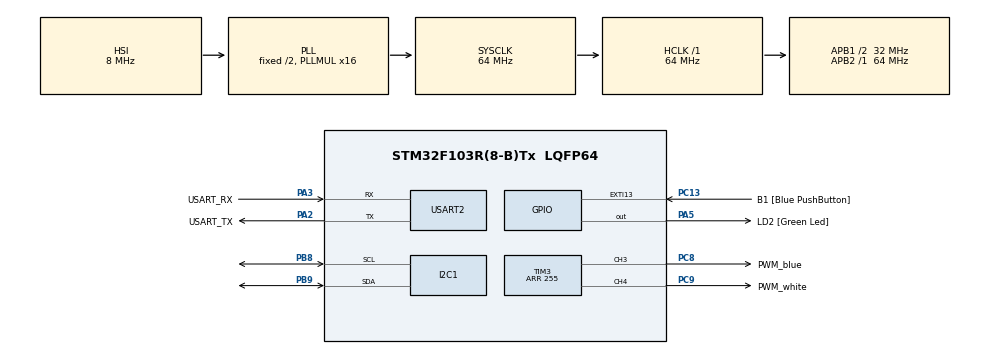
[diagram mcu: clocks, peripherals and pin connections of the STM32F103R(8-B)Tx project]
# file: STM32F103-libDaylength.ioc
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Mcu.Family=STM32F1
Mcu.Name=STM32F103R(8-B)Tx
Mcu.Package=LQFP64
NVIC.EXTI15_10_IRQn=true\:0\:0\:false\:false\:true\:true\:true
NVIC.PriorityGroup=NVIC_PRIORITYGROUP_4
NVIC.USART2_IRQn=true\:0\:0\:false\:false\:true\:true\:true
PA13.GPIO_Label=TMS
PA13.Mode=Serial_Wire
PA13.Signal=SYS_JTMS-SWDIO
PA14.GPIO_Label=TCK
PA14.Mode=Serial_Wire
PA14.Signal=SYS_JTCK-SWCLK
PA2.GPIO_Label=USART_TX
PA2.GPIO_Mode=GPIO_MODE_AF_PP
PA2.GPIO_PuPd=GPIO_NOPULL
PA2.GPIO_Speed=GPIO_SPEED_FREQ_LOW
PA2.Mode=Asynchronous
PA2.Signal=USART2_TX
PA3.GPIO_Label=USART_RX
PA3.GPIO_Mode=GPIO_MODE_AF_PP
PA3.GPIO_PuPd=GPIO_NOPULL
PA3.GPIO_Speed=GPIO_SPEED_FREQ_LOW
PA3.Mode=Asynchronous
PA3.Signal=USART2_RX
PA5.GPIO_Label=LD2 [Green Led]
PA5.GPIO_ModeDefaultOutputPP=GPIO_MODE_OUTPUT_PP
PA5.GPIO_PuPd=GPIO_NOPULL
PA5.GPIO_Speed=GPIO_SPEED_FREQ_LOW
PA5.Signal=GPIO_Output
PB3.GPIO_Label=SWO
PB3.Signal=SYS_JTDO-TRACESWO
PB8.Mode=I2C
PB8.Signal=I2C1_SCL
PB9.Mode=I2C
PB9.Signal=I2C1_SDA
PC13-TAMPER-RTC.GPIO_Label=B1 [Blue PushButton]
PC13-TAMPER-RTC.GPIO_ModeDefaultEXTI=GPIO_MODE_IT_RISING
PC13-TAMPER-RTC.GPIO_PuPd=GPIO_NOPULL
PC13-TAMPER-RTC.Signal=GPXTI13
PC14-OSC32_IN.Mode=LSE-External-Oscillator
PC14-OSC32_IN.Signal=RCC_OSC32_IN
PC15-OSC32_OUT.Mode=LSE-External-Oscillator
PC15-OSC32_OUT.Signal=RCC_OSC32_OUT
PC8.GPIO_Label=PWM_blue
PC8.Signal=S_TIM3_CH3
PC9.GPIO_Label=PWM_white
PC9.Signal=S_TIM3_CH4
PD0-OSC_IN.Signal=RCC_OSC_IN
PD1-OSC_OUT.Signal=RCC_OSC_OUT
ProjectManager.HeapSize=0x200
ProjectManager.StackSize=0x400
ProjectManager.TargetToolchain=MDK-ARM V5
RCC.AHBFreq_Value=64000000
RCC.APB1CLKDivider=RCC_HCLK_DIV2
RCC.APB1Freq_Value=32000000
RCC.APB1TimFreq_Value=64000000
RCC.APB2Freq_Value=64000000
RCC.APB2TimFreq_Value=64000000
RCC.HCLKFreq_Value=64000000
RCC.PLLMUL=RCC_PLL_MUL16
RCC.RTCClockSelection=RCC_RTCCLKSOURCE_LSE
RCC.SYSCLKFreq_VALUE=64000000
RCC.SYSCLKSource=RCC_SYSCLKSOURCE_PLLCLK
RCC.USBFreq_Value=64000000
RTC.Date=8
RTC.Format=RTC_FORMAT_BIN
RTC.Hours=11
RTC.Minutes=35
RTC.Month=RTC_MONTH_MARCH
RTC.Seconds=23
RTC.WeekDay=RTC_WEEKDAY_SUNDAY
SH.S_TIM3_CH3.0=TIM3_CH3,PWM Generation3 CH3
SH.S_TIM3_CH4.0=TIM3_CH4,PWM Generation4 CH4
TIM3.Channel-PWM\ Generation3\ CH3=TIM_CHANNEL_3
TIM3.Channel-PWM\ Generation4\ CH4=TIM_CHANNEL_4
TIM3.Period=255
USART2.VirtualMode=VM_ASYNC
VP_RTC_VS_RTC_Activate.Mode=RTC_Enabled
VP_RTC_VS_RTC_Calendar.Mode=RTC_Calendar
board=NUCLEO-F103RB

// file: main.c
/* USER CODE BEGIN Header */
/**
  ******************************************************************************
  * @file           : main.c
  * @brief          : Main program body
  ******************************************************************************
  * @attention
  *
  * <h2><center>&copy; Copyright (c) 2020 STMicroelectronics.
  * All rights reserved.</center></h2>
  *
  * This software component is licensed by ST under BSD 3-Clause license,
  * the "License"; You may not use this file except in compliance with the
  * License. You may obtain a copy of the License at:
  *                        opensource.org/licenses/BSD-3-Clause
  *
  ******************************************************************************
  */
/* USER CODE END Header */

#include "main.h"

/* USER CODE BEGIN Includes */
#include <stdio.h>
#include "uc_chrono.h"         // https://github.com/mnemocron/libDaylength
#include "lib_daylength.h"     // https://github.com/mnemocron/libDaylength
#include "ssd1306.h"           // https://github.com/mnemocron/stm32-ssd1306
#include "compile_time.h"      // https://stackoverflow.com/questions/11697820/how-to-use-date-and-time-predefined-macros-in-as-two-integers-then-stri

/**
  @brief This code demonstrates the calculation of sunrise and sunset time on
          an STM32F1 microcontroller.
  @details An SSD1306 OLED display is connected to I2C interface
           Two LEDs (blue/yellow) or (cold white/ warm white) are connected to
           PWM GPIO Pins
           During the Day ((t_sunrise + 1h)  <  t  < (t_sunset - 1h)),
           the blue LED lights up. After sunrise and before sunset,
           the blue LED fades, as the yellow starts to light up.
           During nighttime, the yellow LED is on.
 */

/* USER CODE END Includes */

I2C_HandleTypeDef hi2c1;

RTC_HandleTypeDef hrtc;

TIM_HandleTypeDef htim3;

UART_HandleTypeDef huart2;

/* USER CODE BEGIN PV */
uint8_t rxBuffer;
SSD1306_t holed;

const uint32_t compiled_year = BUILD_YEAR;
const uint8_t compiled_month = BUILD_MONTH;
const uint8_t compiled_day = BUILD_DAY;
const uint8_t compiled_hour = BUILD_HOUR;
const uint8_t compiled_min = BUILD_MIN;
const uint8_t compiled_sec = BUILD_SEC;

/* USER CODE END PV */

void SystemClock_Config(void);
static void MX_GPIO_Init(void);
static void MX_USART2_UART_Init(void);
static void MX_I2C1_Init(void);
static void MX_RTC_Init(void);
static void MX_TIM3_Init(void);
/* USER CODE BEGIN PFP */
void setPWM(TIM_HandleTypeDef, uint32_t, uint16_t, uint16_t);
void setLEDs(uint16_t);
/* USER CODE END PFP */

/* USER CODE BEGIN 0 */
/* PRINTF REDIRECT to UART BEGIN */
// @see    http://www.keil.com/forum/60531/
// @see    https://stackoverflow.com/questions/45535126/stm32-printf-redirect

struct __FILE{
  int handle;
  /* Whatever you require here. If the only file you are using is */
  /* standard output using printf() for debugging, no file handling */
  /* is required. */
};

FILE __stdout;

int fputc(int ch, FILE *f){
  HAL_UART_Transmit(&huart2, (uint8_t *)&ch, 1, 0xFFFF);
  return ch;
}

int ferror(FILE *f){
  /* Your implementation of ferror(). */
  return 0;
}
/* PRINTF REDIRECT to UART END */

void RTC_Set_Compiled_Date(){
  RTC_DateTypeDef sDate;
  sDate.Year = compiled_year - 2000U;
  sDate.Month = compiled_month;
  sDate.Date = compiled_day;
  HAL_RTC_SetDate(&hrtc, &sDate, RTC_FORMAT_BIN);
  printf("%d-%02d-%02d\n", sDate.Year, sDate.Month, sDate.Date);
}

void RTC_Set_Compiled_Time(){
  RTC_TimeTypeDef sTime;
  sTime.Hours = compiled_hour;
  sTime.Minutes = compiled_min;
  sTime.Seconds = compiled_sec;
  HAL_RTC_SetTime(&hrtc, &sTime, RTC_FORMAT_BIN);
}

/* USER CODE END 0 */

int main(void)
{

  /* MCU Configuration--------------------------------------------------------*/

  /* Reset of all peripherals, Initializes the Flash interface and the Systick. */
  HAL_Init();

  /* Configure the system clock */
  SystemClock_Config();

  /* Initialize all configured peripherals */
  MX_GPIO_Init();
  MX_USART2_UART_Init();
  MX_I2C1_Init();
  MX_RTC_Init();
  MX_TIM3_Init();
  /* USER CODE BEGIN 2 */
  HAL_UART_Receive_IT(&huart2, &rxBuffer, 1);

  holed.hi2cx = &hi2c1;
  ssd1306_Init(&holed);
  ssd1306_Fill(&holed, Black);
  ssd1306_SetCursor(&holed, 2, 2);
  ssd1306_WriteString(&holed, "RTC", Font_11x18, White);
  ssd1306_UpdateScreen(&holed);
  HAL_Delay(500);

  RTC_DateTypeDef sDate;
  RTC_TimeTypeDef sTime;
  char lcd_buf[18];

  HAL_RTC_GetDate(&hrtc, &sDate, RTC_FORMAT_BIN);

  /**
  @bug : the STM32F1 Series is not able to store the date in the RTC (or at least it is not implemented in HAL)
  */
  // check if RTC lost the date
  if(sDate.Year <= (compiled_year-2000U)){
    if(sDate.Month <= compiled_month){
      if(sDate.Date < compiled_day){
        RTC_Set_Compiled_Date();
        printf("Date was outdated\n");
        ssd1306_SetCursor(&holed, 2, 2);
        ssd1306_WriteString(&holed, "outdated", Font_11x18, White);
        sprintf(lcd_buf, "%d-%02d-%02d", sDate.Year, sDate.Month, sDate.Date);
        ssd1306_SetCursor(&holed, 2, 20);
        ssd1306_WriteString(&holed, lcd_buf, Font_7x10, White);
        ssd1306_UpdateScreen(&holed);
        HAL_Delay(1500);
      }
    }
  }
  ssd1306_Fill(&holed, Black);
  ssd1306_UpdateScreen(&holed);

  // check if the RTC lost the time
  HAL_RTC_GetTime(&hrtc, &sTime, RTC_FORMAT_BIN);
  uint32_t s_day = sTime.Hours*3600 + sTime.Minutes*60 + sTime.Seconds;
  if(s_day < (compiled_hour*3600 + compiled_min*60 + compiled_sec)){
    RTC_Set_Compiled_Time();
    printf("Time was outdated\n");
    ssd1306_SetCursor(&holed, 2, 2);
    ssd1306_WriteString(&holed, "outtimed", Font_11x18, White);
    sprintf(lcd_buf, "%02d:%02d:%02d", sTime.Hours, sTime.Minutes, sTime.Minutes);
    ssd1306_SetCursor(&holed, 2, 20);
    ssd1306_WriteString(&holed, lcd_buf, Font_7x10, White);
    sprintf(lcd_buf, "%02d:%02d:%02d", compiled_hour, compiled_min, compiled_sec);
    ssd1306_SetCursor(&holed, 2, 35);
    ssd1306_WriteString(&holed, lcd_buf, Font_7x10, White);
    ssd1306_UpdateScreen(&holed);
    HAL_Delay(1500);
  }
  ssd1306_Fill(&holed, Black);
  ssd1306_UpdateScreen(&holed);

  UNIXTimestamp_t st;
  st.year = sDate.Year+2000;
  st.month = sDate.Month;
  st.day = sDate.Date;
  st.hour = sTime.Hours;
  st.minute = sTime.Minutes;
  st.second = sTime.Seconds;

  UNIXTimestamp_t sR;
  // Latitude / Longitude for Solothurn - CH4500
  double lon = 47.207447;
  double lat = 7.537179;

  /* USER CODE END 2 */

  /* Infinite loop */
  while (1)
  {

    /* USER CODE BEGIN 3 */
    HAL_RTC_GetDate(&hrtc, &sDate, RTC_FORMAT_BIN);
    HAL_RTC_GetTime(&hrtc, &sTime, RTC_FORMAT_BIN);
    printf("RTC: %02d:%02d:%02d\n", sTime.Hours, sTime.Minutes, sTime.Seconds);

    st.year = sDate.Year+2000;
    st.month = sDate.Month;
    st.day = sDate.Date;
    st.hour = sTime.Hours;
    st.minute = sTime.Minutes;
    st.second = sTime.Seconds;

    // current date and time
    sprintf(lcd_buf, "%d-%02d-%02d", st.year, st.month, st.day);
    ssd1306_SetCursor(&holed, 2, 2);
    ssd1306_WriteString(&holed, lcd_buf, Font_7x10, White);
    sprintf(lcd_buf, "%02d:%02d:%02d", st.hour, st.minute, st.second);
    ssd1306_SetCursor(&holed, 2, 12);
    ssd1306_WriteString(&holed, lcd_buf, Font_7x10, White);
    ssd1306_UpdateScreen(&holed);
    printf("UNIX: %d-%02d-%02d %02d:%02d:%02d\n", st.year, st.month, st.day, st.hour, st.minute, st.second);

    // calculate sunrise
    sR = getSunrise(&st, lon, lat);
    printf("Rise: %d-%02d-%02d %02d:%02d:%02d\n", sR.year, sR.month, sR.day, sR.hour, sR.minute, sR.second);
    sprintf(lcd_buf, "%02d:%02d:%02d -sunrise", sR.hour, sR.minute, sR.second);
    ssd1306_SetCursor(&holed, 2, 24);
    ssd1306_WriteString(&holed, lcd_buf, Font_7x10, White);
    ssd1306_UpdateScreen(&holed);
    uint32_t s_sunrise = sR.hour*3600 + sR.minute*60 + sR.second;

    // calculate sunset
    sR = getSunset(&st, lon, lat);
    printf("Set : %d-%02d-%02d %02d:%02d:%02d\n", sR.year, sR.month, sR.day, sR.hour, sR.minute, sR.second);
    sprintf(lcd_buf, "%02d:%02d:%02d -sunset", sR.hour, sR.minute, sR.second);
    ssd1306_SetCursor(&holed, 2, 36);
    ssd1306_WriteString(&holed, lcd_buf, Font_7x10, White);
    ssd1306_UpdateScreen(&holed);
    uint32_t s_sunset = sR.hour*3600 + sR.minute*60 + sR.second;

    HAL_Delay(500);
    HAL_GPIO_TogglePin(LD2_GPIO_Port, LD2_Pin);

    // get highest position of sun
    sR = getSunTransit(&st, lon, lat);
    uint32_t s_median = sR.hour*3600 + sR.minute*60 + sR.second;
    uint32_t s_now = st.hour*3600 + st.minute*60 + st.second;
    uint32_t pre_sunset = 3600;

    if(s_now < s_median){
      // ANTE MERIDIEM
      // check sunrise
      if(s_now < (s_sunrise + pre_sunset)){
        if(s_now > (s_sunrise)){
          // DAWN
          setLEDs(3600 - (s_now - s_sunrise));
          sprintf(lcd_buf, "%04ds since sunrise", s_now-s_sunrise);
        } else {
          // NIGHTTIME
          setPWM(htim3, TIM_CHANNEL_3, 255, 255);
          setPWM(htim3, TIM_CHANNEL_4, 255, 0);
          sprintf(lcd_buf, "AM (night)      .");
        }
      } else {
        // DAYTIME
        setPWM(htim3, TIM_CHANNEL_3, 255, 0);
        setPWM(htim3, TIM_CHANNEL_4, 255, 255);
        sprintf(lcd_buf, "AM (morning)    .");
      }

    } else {
      // POST MERIDIEM
      // check sunset
      if(s_now > (s_sunset - pre_sunset)){
        if(s_now > s_sunset){
          // NIGHTTIME
          setPWM(htim3, TIM_CHANNEL_3, 255, 255);
          setPWM(htim3, TIM_CHANNEL_4, 255, 0);
          sprintf(lcd_buf, "PM (night)      .");
        } else {
          // DUSK
          setLEDs(s_sunset - s_now);
          sprintf(lcd_buf, "%04ds till sunset", s_sunset-s_now);
        }
      } else {
        // DAYTIME
        setPWM(htim3, TIM_CHANNEL_3, 255, 0);
        setPWM(htim3, TIM_CHANNEL_4, 255, 255);
        sprintf(lcd_buf, "PM (afternoon)  .");
      }
    }
    ssd1306_SetCursor(&holed, 2, 48);
    ssd1306_WriteString(&holed, lcd_buf, Font_7x10, White);
    ssd1306_UpdateScreen(&holed);

  }
  /* USER CODE END 3 */
}

void SystemClock_Config(void)
{
  RCC_OscInitTypeDef RCC_OscInitStruct = {0};
  RCC_ClkInitTypeDef RCC_ClkInitStruct = {0};
  RCC_PeriphCLKInitTypeDef PeriphClkInit = {0};

  /** Initializes the CPU, AHB and APB busses clocks
  */
  RCC_OscInitStruct.OscillatorType = RCC_OSCILLATORTYPE_HSI|RCC_OSCILLATORTYPE_LSE;
  RCC_OscInitStruct.LSEState = RCC_LSE_ON;
  RCC_OscInitStruct.HSIState = RCC_HSI_ON;
  RCC_OscInitStruct.HSICalibrationValue = RCC_HSICALIBRATION_DEFAULT;
  RCC_OscInitStruct.PLL.PLLState = RCC_PLL_ON;
  RCC_OscInitStruct.PLL.PLLSource = RCC_PLLSOURCE_HSI_DIV2;
  RCC_OscInitStruct.PLL.PLLMUL = RCC_PLL_MUL16;
  if (HAL_RCC_OscConfig(&RCC_OscInitStruct) != HAL_OK)
  {
    Error_Handler();
  }
  /** Initializes the CPU, AHB and APB busses clocks
  */
  RCC_ClkInitStruct.ClockType = RCC_CLOCKTYPE_HCLK|RCC_CLOCKTYPE_SYSCLK
                              |RCC_CLOCKTYPE_PCLK1|RCC_CLOCKTYPE_PCLK2;
  RCC_ClkInitStruct.SYSCLKSource = RCC_SYSCLKSOURCE_PLLCLK;
  RCC_ClkInitStruct.AHBCLKDivider = RCC_SYSCLK_DIV1;
  RCC_ClkInitStruct.APB1CLKDivider = RCC_HCLK_DIV2;
  RCC_ClkInitStruct.APB2CLKDivider = RCC_HCLK_DIV1;

  if (HAL_RCC_ClockConfig(&RCC_ClkInitStruct, FLASH_LATENCY_2) != HAL_OK)
  {
    Error_Handler();
  }
  PeriphClkInit.PeriphClockSelection = RCC_PERIPHCLK_RTC;
  PeriphClkInit.RTCClockSelection = RCC_RTCCLKSOURCE_LSE;
  if (HAL_RCCEx_PeriphCLKConfig(&PeriphClkInit) != HAL_OK)
  {
    Error_Handler();
  }
}

static void MX_I2C1_Init(void)
{

  hi2c1.Instance = I2C1;
  hi2c1.Init.ClockSpeed = 100000;
  hi2c1.Init.DutyCycle = I2C_DUTYCYCLE_2;
  hi2c1.Init.OwnAddress1 = 0;
  hi2c1.Init.AddressingMode = I2C_ADDRESSINGMODE_7BIT;
  hi2c1.Init.DualAddressMode = I2C_DUALADDRESS_DISABLE;
  hi2c1.Init.OwnAddress2 = 0;
  hi2c1.Init.GeneralCallMode = I2C_GENERALCALL_DISABLE;
  hi2c1.Init.NoStretchMode = I2C_NOSTRETCH_DISABLE;
  if (HAL_I2C_Init(&hi2c1) != HAL_OK)
  {
    Error_Handler();
  }

}

static void MX_RTC_Init(void)
{

  RTC_TimeTypeDef sTime = {0};
  RTC_DateTypeDef DateToUpdate = {0};

  /** Initialize RTC Only
  */
  hrtc.Instance = RTC;
  hrtc.Init.AsynchPrediv = RTC_AUTO_1_SECOND;
  hrtc.Init.OutPut = RTC_OUTPUTSOURCE_ALARM;
  if (HAL_RTC_Init(&hrtc) != HAL_OK)
  {
    Error_Handler();
  }

  /** Initialize RTC and set the Time and Date
  */
  /*
  sTime.Hours = 11;
  sTime.Minutes = 35;
  sTime.Seconds = 23;

  if (HAL_RTC_SetTime(&hrtc, &sTime, RTC_FORMAT_BIN) != HAL_OK)
  {
    Error_Handler();
  }
  DateToUpdate.WeekDay = RTC_WEEKDAY_SUNDAY;
  DateToUpdate.Month = RTC_MONTH_MARCH;
  DateToUpdate.Date = 8;
  DateToUpdate.Year = 0;

  if (HAL_RTC_SetDate(&hrtc, &DateToUpdate, RTC_FORMAT_BIN) != HAL_OK)
  {
    Error_Handler();
  }
  */

}

static void MX_TIM3_Init(void)
{

  TIM_MasterConfigTypeDef sMasterConfig = {0};
  TIM_OC_InitTypeDef sConfigOC = {0};

  htim3.Instance = TIM3;
  htim3.Init.Prescaler = 0;
  htim3.Init.CounterMode = TIM_COUNTERMODE_UP;
  htim3.Init.Period = 255;
  htim3.Init.ClockDivision = TIM_CLOCKDIVISION_DIV1;
  htim3.Init.AutoReloadPreload = TIM_AUTORELOAD_PRELOAD_DISABLE;
  if (HAL_TIM_PWM_Init(&htim3) != HAL_OK)
  {
    Error_Handler();
  }
  sMasterConfig.MasterOutputTrigger = TIM_TRGO_RESET;
  sMasterConfig.MasterSlaveMode = TIM_MASTERSLAVEMODE_DISABLE;
  if (HAL_TIMEx_MasterConfigSynchronization(&htim3, &sMasterConfig) != HAL_OK)
  {
    Error_Handler();
  }
  sConfigOC.OCMode = TIM_OCMODE_PWM1;
  sConfigOC.Pulse = 0;
  sConfigOC.OCPolarity = TIM_OCPOLARITY_HIGH;
  sConfigOC.OCFastMode = TIM_OCFAST_DISABLE;
  if (HAL_TIM_PWM_ConfigChannel(&htim3, &sConfigOC, TIM_CHANNEL_3) != HAL_OK)
  {
    Error_Handler();
  }
  if (HAL_TIM_PWM_ConfigChannel(&htim3, &sConfigOC, TIM_CHANNEL_4) != HAL_OK)
  {
    Error_Handler();
  }
  HAL_TIM_MspPostInit(&htim3);

}

static void MX_USART2_UART_Init(void)
{

  huart2.Instance = USART2;
  huart2.Init.BaudRate = 115200;
  huart2.Init.WordLength = UART_WORDLENGTH_8B;
  huart2.Init.StopBits = UART_STOPBITS_1;
  huart2.Init.Parity = UART_PARITY_NONE;
  huart2.Init.Mode = UART_MODE_TX_RX;
  huart2.Init.HwFlowCtl = UART_HWCONTROL_NONE;
  huart2.Init.OverSampling = UART_OVERSAMPLING_16;
  if (HAL_UART_Init(&huart2) != HAL_OK)
  {
    Error_Handler();
  }

}

static void MX_GPIO_Init(void)
{
  GPIO_InitTypeDef GPIO_InitStruct = {0};

  /* GPIO Ports Clock Enable */
  __HAL_RCC_GPIOC_CLK_ENABLE();
  __HAL_RCC_GPIOD_CLK_ENABLE();
  __HAL_RCC_GPIOA_CLK_ENABLE();
  __HAL_RCC_GPIOB_CLK_ENABLE();

  /*Configure GPIO pin Output Level */
  HAL_GPIO_WritePin(LD2_GPIO_Port, LD2_Pin, GPIO_PIN_RESET);

  /*Configure GPIO pin : B1_Pin */
  GPIO_InitStruct.Pin = B1_Pin;
  GPIO_InitStruct.Mode = GPIO_MODE_IT_RISING;
  GPIO_InitStruct.Pull = GPIO_NOPULL;
  HAL_GPIO_Init(B1_GPIO_Port, &GPIO_InitStruct);

  /*Configure GPIO pin : LD2_Pin */
  GPIO_InitStruct.Pin = LD2_Pin;
  GPIO_InitStruct.Mode = GPIO_MODE_OUTPUT_PP;
  GPIO_InitStruct.Pull = GPIO_NOPULL;
  GPIO_InitStruct.Speed = GPIO_SPEED_FREQ_LOW;
  HAL_GPIO_Init(LD2_GPIO_Port, &GPIO_InitStruct);

  /* EXTI interrupt init*/
  HAL_NVIC_SetPriority(EXTI15_10_IRQn, 0, 0);
  HAL_NVIC_EnableIRQ(EXTI15_10_IRQn);

}

/* USER CODE BEGIN 4 */

void setPWM(TIM_HandleTypeDef timer, uint32_t channel, uint16_t period, uint16_t pulse)
{
  HAL_TIM_PWM_Stop(&timer, channel);
  // stop generation of pwm
  TIM_OC_InitTypeDef sConfigOC;
  timer.Init.Period = period;
  // set the period duration
  HAL_TIM_PWM_Init(&timer);
  // reinititialise with new period value
  sConfigOC.OCMode = TIM_OCMODE_PWM1;
  sConfigOC.Pulse = pulse;
  // set the pulse duration
  sConfigOC.OCPolarity = TIM_OCPOLARITY_HIGH;
  sConfigOC.OCFastMode = TIM_OCFAST_DISABLE;
  HAL_TIM_PWM_ConfigChannel(&timer, &sConfigOC, channel);
  HAL_TIM_PWM_Start(&timer, channel);   // start pwm generation}
}

void setLEDs(uint16_t t)
{
  // pulse --> yellow
  uint16_t pulse = t / 14;
  if(pulse > 255)
    pulse = 255;
  setPWM(htim3, TIM_CHANNEL_3, 255, pulse);  // CH3 = yellow
  setPWM(htim3, TIM_CHANNEL_4, 255, 255-pulse); // CH4 = blue
}
/* USER CODE END 4 */

void Error_Handler(void)
{
}

/************************ (C) COPYRIGHT STMicroelectronics *****END OF FILE****/
